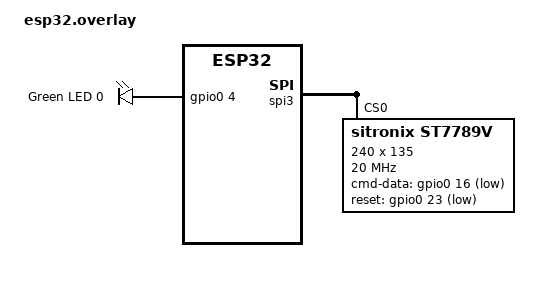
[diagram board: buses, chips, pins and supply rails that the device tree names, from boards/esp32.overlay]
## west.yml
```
# Copyright (c) 2022-2023 Golioth, Inc.
# SPDX-License-Identifier: Apache-2.0

manifest:
  version: 0.8

  projects:
    - name: zephyr
      path: zephyr
      revision: v3.3.0
      url: https://github.com/zephyrproject-rtos/zephyr.git
      import:
        file: west.yml
        path-prefix: deps

  self:
    path: app
```

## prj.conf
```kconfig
CONFIG_LV_Z_MEM_POOL_NUMBER_BLOCKS=8
CONFIG_MAIN_STACK_SIZE=4048

CONFIG_DISPLAY=y
CONFIG_DISPLAY_LOG_LEVEL_ERR=y

CONFIG_LOG=y

CONFIG_LVGL=y
CONFIG_LV_COLOR_16_SWAP=y
CONFIG_LV_MEM_CUSTOM=y
CONFIG_LV_USE_LOG=y
CONFIG_LV_USE_LABEL=y
CONFIG_LV_USE_BTN=y
CONFIG_LV_USE_IMG=y
CONFIG_LV_FONT_MONTSERRAT_14=y
CONFIG_LV_FONT_MONTSERRAT_24=y
CONFIG_LV_FONT_MONTSERRAT_32=y
```

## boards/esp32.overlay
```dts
/ {
	aliases {
		led0 = &led0;
	};

	chosen {
		zephyr,display = &st7789v;
	};

	leds {
		compatible = "gpio-leds";
		led0: led_0 {
			gpios = <&gpio0 4 GPIO_ACTIVE_HIGH>;
			label = "Green LED 0";
		};
	};
};

&spi3 {
	st7789v: st7789v@0 {
		compatible = "sitronix,st7789v";
		spi-max-frequency = <20000000>;
		reg = <0>;
		cmd-data-gpios = <&gpio0 16 GPIO_ACTIVE_LOW>;
		reset-gpios = <&gpio0 23 GPIO_ACTIVE_LOW>;

		/*** Select lines on one of these blocks ***/

		/* Portrait */
		/* width = <135>; */
		/* height = <240>; */
		/* x-offset = <52>; */
		/* y-offset = <40>; */
		/* mdac = <0x08>; /* ST7789V_MADCTL_BGR */

		/* Landscape */
		width = <240>;
		height = <135>;
		x-offset = <40>;
		y-offset = <52>;
		mdac = <0xA8>; /* ST7789V_MADCTL_BGR */


		vcom = <0x28>;
		gctrl = <0x35>;
		vrhs = <0x10>;
		vdvs = <0x20>;
		gamma = <0x01>;
		colmod = <0x55>;
		lcm = <0x0C>;
		porch-param = [0C 0C 00 33 33];
		cmd2en-param = [5A 69 02 01];
		pwctrl1-param = [A4 A1];
		pvgam-param = [D0 00 02 07 0A 28 32 44 42 06 0E 12 14 17];
		nvgam-param = [D0 00 02 07 0A 28 31 54 47 0E 1C 17 1B 1E];
		ram-param = [00 E0];
		rgb-param = [CD 08 14];
	};
};

&pinctrl {
	spim3_default: spim3_default {
		group1 {
			pinmux = <SPIM3_SCLK_GPIO18>,
				 <SPIM3_CSEL_GPIO5>;
		};
		group2 {
			pinmux = <SPIM3_MOSI_GPIO19>;
			output-low;
		};
	};
};
```

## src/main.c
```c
/*
 * Copyright (c) 2018 Jan Van Winkel <jan.van_winkel@dxplore.eu>
 *
 * SPDX-License-Identifier: Apache-2.0
 */

#include <zephyr/device.h>
#include <zephyr/devicetree.h>
#include <zephyr/drivers/display.h>
#include <zephyr/drivers/gpio.h>
#include <lvgl.h>
#include <stdio.h>
#include <string.h>
#include <zephyr/kernel.h>

#include "logo.h"

#define LED0_NODE DT_ALIAS(led0)
static const struct gpio_dt_spec led = GPIO_DT_SPEC_GET(LED0_NODE, gpios);

#define LOG_LEVEL CONFIG_LOG_DEFAULT_LEVEL
#include <zephyr/logging/log.h>
LOG_MODULE_REGISTER(app);

static uint32_t count_a[10] = { 0 };
static uint32_t count;

static lv_style_t style;
static lv_style_t style2;
static lv_style_t style3;
static lv_style_t bgStyle;
static lv_style_t titleStyle;

static lv_obj_t *arc[3];
static lv_obj_t *img_logo;
static lv_obj_t *img_name;
static lv_obj_t *img_szczys;

static lv_obj_t *dis;
static uint8_t tile_idx;
static lv_obj_t *meter;

static lv_obj_t *lebel;
static lv_obj_t *title;

lv_obj_t *tv1;
lv_obj_t *tv2;
lv_obj_t *tv3;
lv_obj_t *tv4;

#ifdef CONFIG_GPIO
static struct gpio_dt_spec button_gpio = GPIO_DT_SPEC_GET_OR(
		DT_ALIAS(sw0), gpios, {0});
static struct gpio_callback button_callback;

static void button_isr_callback(const struct device *port,
				struct gpio_callback *cb,
				uint32_t pins)
{
	ARG_UNUSED(port);
	ARG_UNUSED(cb);
	ARG_UNUSED(pins);

	count = 0;
	printk("Resettings counter\n");

	if (++tile_idx > 2) {
		tile_idx = 0;
	}
	lv_obj_set_tile_id(dis, 0, tile_idx, LV_ANIM_ON);
}
#endif

static lv_obj_t * chart;
static lv_chart_series_t * ser1;

void create_chart(void) {
	/*Create a chart*/

	chart = lv_chart_create(lv_scr_act());
	lv_obj_set_size(chart, 135, 100);
	lv_obj_center(chart);
	lv_chart_set_type(chart, LV_CHART_TYPE_LINE);   /*Show lines and points too*/

	/*Add two data series*/
	ser1 = lv_chart_add_series(chart, lv_palette_main(LV_PALETTE_RED), LV_CHART_AXIS_PRIMARY_Y);

	/*Set the next points on 'ser1'*/
// 	lv_chart_set_next_value(chart, ser1, 10);
// 	lv_chart_set_next_value(chart, ser1, 10);
// 	lv_chart_set_next_value(chart, ser1, 10);
// 	lv_chart_set_next_value(chart, ser1, 10);
// 	lv_chart_set_next_value(chart, ser1, 10);
// 	lv_chart_set_next_value(chart, ser1, 10);
// 	lv_chart_set_next_value(chart, ser1, 10);
// 	lv_chart_set_next_value(chart, ser1, 30);
// 	lv_chart_set_next_value(chart, ser1, 70);
// 	lv_chart_set_next_value(chart, ser1, 90);

	/*Directly set points on 'ser2'*/
// 	ser2->y_points[0] = 90;
// 	ser2->y_points[1] = 70;
// 	ser2->y_points[2] = 65;
// 	ser2->y_points[3] = 65;
// 	ser2->y_points[4] = 65;
// 	ser2->y_points[5] = 65;
// 	ser2->y_points[6] = 65;
// 	ser2->y_points[7] = 65;
// 	ser2->y_points[8] = 65;
// 	ser2->y_points[9] = 65;
//
// 	lv_chart_refresh(chart); /*Required after direct set*/
	/*Directly set points on 'ser2'*/
	for (uint8_t i=0; i<10; i++) {
		ser1->y_points[i] = count_a[i];
	}

	lv_chart_refresh(chart); /*Required after direct set*/
}

void update_chart(void) {
    lv_chart_set_next_value(chart, ser1, ((count/10U)*10)%100);
}

static void anim_x_cb(void * var, int32_t v)
{
    lv_obj_set_x(var, v);
}

static void anim_zoom_cb(void * var, int32_t v)
{
    lv_img_set_zoom(var, v);
}

void main(void)
{
	int err;
	char count_str[11] = {0};
	const struct device *display_dev;
	lv_obj_t *hello_world_label;
	lv_obj_t *count_label;

	display_dev = DEVICE_DT_GET(DT_CHOSEN(zephyr_display));
	if (!device_is_ready(display_dev)) {
		LOG_ERR("Device not ready, aborting test");
		return;
	}

	gpio_pin_configure_dt(&led, GPIO_OUTPUT_ACTIVE);

#ifdef CONFIG_GPIO
	if (device_is_ready(button_gpio.port)) {
		err = gpio_pin_configure_dt(&button_gpio, GPIO_INPUT);
		if (err) {
			LOG_ERR("failed to configure button gpio: %d", err);
			return;
		}

		gpio_init_callback(&button_callback, button_isr_callback,
				   BIT(button_gpio.pin));

		err = gpio_add_callback(button_gpio.port, &button_callback);
		if (err) {
			LOG_ERR("failed to add button callback: %d", err);
			return;
		}

		err = gpio_pin_interrupt_configure_dt(&button_gpio,
						      GPIO_INT_EDGE_TO_ACTIVE);
		if (err) {
			LOG_ERR("failed to enable button callback: %d", err);
			return;
		}
	}
#endif
	//Initialize 3 tiles that act as pages
	lv_obj_t *scr = lv_scr_act();
	dis = lv_tileview_create(scr);
	lv_obj_align(dis, LV_ALIGN_TOP_RIGHT, 0, 0);
// 	tv1 = lv_tileview_add_tile(dis, 0, 0, LV_DIR_HOR);
// 	tv2 = lv_tileview_add_tile(dis, 0, 1, LV_DIR_HOR);
// 	tv3 = lv_tileview_add_tile(dis, 0, 2, LV_DIR_HOR);
// 	lv_obj_set_scrollbar_mode(tv1, LV_SCROLLBAR_MODE_OFF);

	/* Temporary: */
	tv2 = lv_tileview_add_tile(dis, 0, 0, LV_DIR_HOR);
	tv4 = lv_tileview_add_tile(dis, 0, 1, LV_DIR_HOR);
	tv3 = lv_tileview_add_tile(dis, 0, 2, LV_DIR_HOR);


	img_szczys = lv_img_create(tv2);

	static lv_obj_t *img_zephyr;
	img_zephyr = lv_img_create(tv4);
	lv_img_set_src(img_zephyr, &zephyr);
	lv_img_set_src(img_szczys, &szczys);

	//create style to manipulate objects characteristics implicitly
	lv_style_init(&style);
	lv_style_init(&style2);
	lv_style_init(&style3);
	lv_style_init(&bgStyle);
	lv_style_init(&titleStyle);

	lv_color_t textColor16 = lv_palette_main(LV_PALETTE_RED);	//0x014FF00	is purple
	lv_style_set_text_color(&style,textColor16);
	lv_style_set_text_font(&style,  &lv_font_montserrat_24);
	lv_style_set_text_color(&style2, lv_palette_main(LV_PALETTE_GREEN));
	lv_style_set_text_font(&style2,  &lv_font_montserrat_24);
	lv_style_set_text_color(&style3, lv_palette_main(LV_PALETTE_BLUE));
	lv_style_set_text_font(&style3,  &lv_font_montserrat_24);
	//Change background color
	textColor16 = lv_color_hex(0x000000);
	lv_obj_add_style(dis, &bgStyle, 0);
	lv_style_set_bg_color(&bgStyle, textColor16);
	//Change title text style
	textColor16 = lv_color_hex(0xFF0028);				//0xF8FCF8 is white //0xFF0028 is cyan
	lv_style_set_text_color(&titleStyle,textColor16);
	lv_style_set_text_font(&titleStyle,  &lv_font_montserrat_24);

	//Create rolling text
	lebel = lv_label_create(tv3);
	lv_obj_add_style(lebel, &style, 0);
	lv_label_set_long_mode(lebel, LV_LABEL_LONG_SCROLL_CIRCULAR);
	//To let scroll feature work properly, the text size must be larger than the assigned size.
	lv_obj_set_width(lebel, 150);
	lv_label_set_text(lebel, "This test is Red");
	lv_obj_align(lebel, LV_ALIGN_CENTER, 0, -26);
	lv_label_set_long_mode(lebel, LV_LABEL_LONG_SCROLL_CIRCULAR);

	lv_obj_t *l2 = lv_label_create(tv3);
	lv_obj_add_style(l2, &style2, 0);
	lv_label_set_text(l2, "Green text");
	lv_obj_align(l2, LV_ALIGN_CENTER, 0, 0);

	lv_obj_t *l3 = lv_label_create(tv3);
	lv_obj_add_style(l3, &style3, 0);
	lv_label_set_text(l3, "Blue lettering");
	lv_obj_align(l3, LV_ALIGN_CENTER, 0, 26);

	lv_task_handler();
	display_blanking_off(display_dev);

	lv_style_t szczys_s;
	lv_style_init(&szczys_s);
	lv_style_set_text_color(&szczys_s, lv_color_hex(0xEC255A));
	lv_style_set_text_font(&szczys_s,  &lv_font_montserrat_32);
	lv_obj_t *label = lv_label_create(tv2);
	lv_obj_add_style(label, &szczys_s, 0);
	lv_label_set_text(label, "Mike\nSzczys");
	lv_obj_align(label, LV_ALIGN_LEFT_MID, 110, -16);

	lv_style_t title_s;
	lv_style_init(&title_s);
	lv_style_set_text_color(&title_s, lv_color_hex(0xFFFFFF));
	lv_style_set_text_font(&title_s,  &lv_font_montserrat_24);
	lv_obj_t *title_l = lv_label_create(tv2);
	lv_obj_add_style(title_l, &title_s, 0);
	lv_label_set_text(title_l, "Firmware");
	lv_obj_align(title_l, LV_ALIGN_LEFT_MID, 110, 40);

	while (1) {
		lv_task_handler();
		++count;
		k_sleep(K_MSEC(10));
	}
}
```
